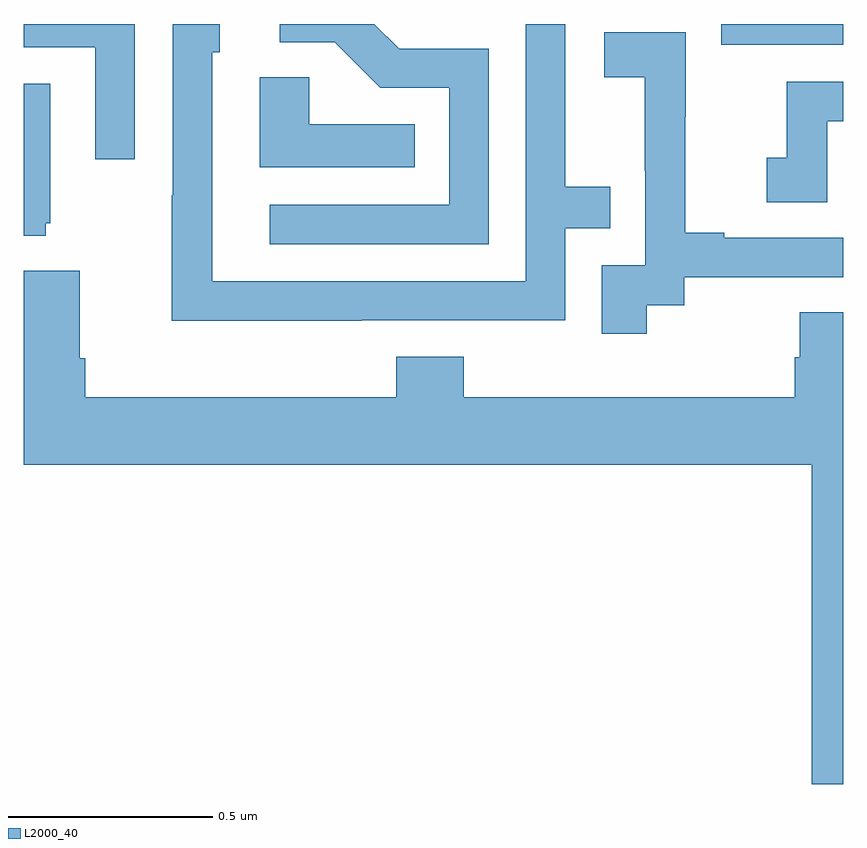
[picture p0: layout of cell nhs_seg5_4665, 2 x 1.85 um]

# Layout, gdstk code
import gdstk
lib = gdstk.Library(unit=1e-6, precision=1e-09)
def R(c, l, rs):  # rectangles x0, y0, x1, y1
    for r in rs: c.add(gdstk.rectangle(r[:2], r[2:], *l))
def P(c, l, *ps):  # polygons
    for p in ps: c.add(gdstk.Polygon(p, *l))
L2000_40 = (2000, 40)

nhs_seg5_4665 = lib.new_cell('nhs_seg5_4665')
R(nhs_seg5_4665, L2000_40, [(174.702,893.748,175,893.799)])
P(nhs_seg5_4665, L2000_40, [(173.825,893.076),(174.321,893.076),(174.321,893.301),(174.431,893.301),(174.431,893.402),(174.321,893.402),(174.321,893.799),(174.225,893.799),(174.225,893.172),(173.46,893.172),(173.46,893.73),(173.479,893.73),(173.479,893.799),(173.364,893.799),(173.364,893.381),(173.362,893.381),(173.362,893.075),(173.825,893.075)],
  [(173.271,893.799),(173,893.799),(173,893.742),(173.175,893.742),(173.175,893.469),(173.271,893.469)],
  [(174.135,893.739),(173.916,893.739),(173.856,893.799),(173.625,893.799),(173.625,893.754),(173.759,893.754),(173.87,893.643),(174.039,893.643),(174.039,893.358),(173.601,893.358),(173.601,893.262),(174.135,893.262)],
  [(174.52,893.113),(174.612,893.113),(174.612,893.181),(175,893.181),(175,893.277),(174.709,893.277),(174.709,893.29),(174.614,893.29),(174.614,893.573),(174.615,893.573),(174.615,893.779),(174.417,893.779),(174.417,893.669),(174.515,893.669),(174.515,893.441),(174.516,893.441),(174.516,893.211),(174.411,893.211),(174.411,893.043),(174.52,893.043)],
  [(173.954,893.554),(173.697,893.554),(173.697,893.669),(173.576,893.669),(173.576,893.45),(173.954,893.45)],
  [(174.96,893.562),(175,893.562),(175,893.658),(174.862,893.658),(174.862,893.473),(174.813,893.473),(174.813,893.364),(174.96,893.364)],
  [(173.054,893.313),(173.065,893.313),(173.065,893.653),(173,893.653),(173,893.282),(173.054,893.282)],
  [(175,893.096),(174.893,893.096),(174.893,892.986),(174.881,892.986),(174.881,892.888),(174.074,892.888),(174.074,892.987),(173.909,892.987),(173.909,892.888),(173.15,892.888),(173.15,892.984),(173.137,892.984),(173.137,893.197),(173,893.197),(173,892.724),(174.923,892.724),(174.923,891.945),(175,891.945)])

lib.write_gds('nhs_seg5_4665.gds')
